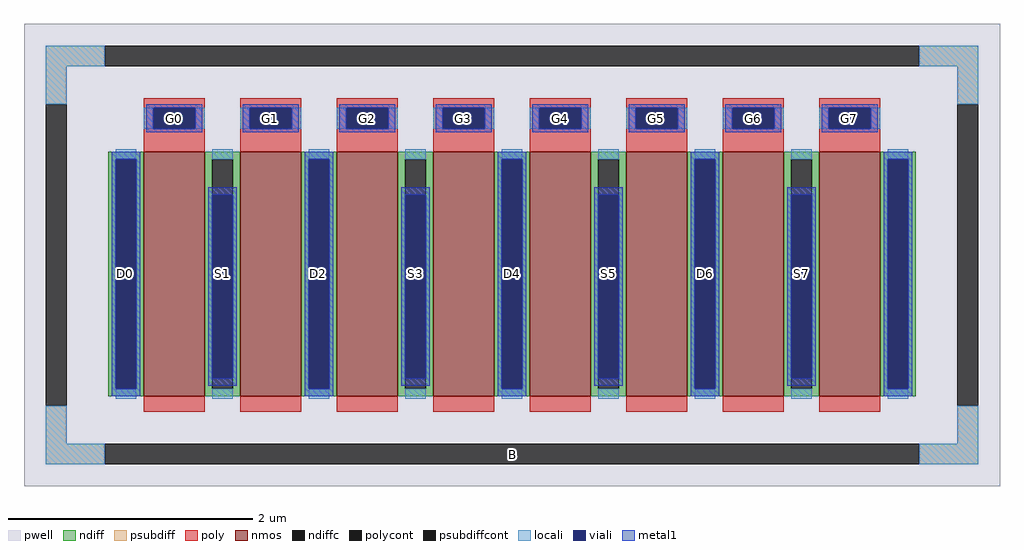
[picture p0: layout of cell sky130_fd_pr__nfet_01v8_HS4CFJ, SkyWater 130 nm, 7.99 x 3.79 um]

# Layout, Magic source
magic
tech sky130A
magscale 1 2
<< pwell >>
rect -799 -379 799 379
<< nmos >>
rect -603 -231 -503 169
rect -445 -231 -345 169
rect -287 -231 -187 169
rect -129 -231 -29 169
rect 29 -231 129 169
rect 187 -231 287 169
rect 345 -231 445 169
rect 503 -231 603 169
<< ndiff >>
rect -661 157 -603 169
rect -661 -219 -649 157
rect -615 -219 -603 157
rect -661 -231 -603 -219
rect -503 157 -445 169
rect -503 -219 -491 157
rect -457 -219 -445 157
rect -503 -231 -445 -219
rect -345 157 -287 169
rect -345 -219 -333 157
rect -299 -219 -287 157
rect -345 -231 -287 -219
rect -187 157 -129 169
rect -187 -219 -175 157
rect -141 -219 -129 157
rect -187 -231 -129 -219
rect -29 157 29 169
rect -29 -219 -17 157
rect 17 -219 29 157
rect -29 -231 29 -219
rect 129 157 187 169
rect 129 -219 141 157
rect 175 -219 187 157
rect 129 -231 187 -219
rect 287 157 345 169
rect 287 -219 299 157
rect 333 -219 345 157
rect 287 -231 345 -219
rect 445 157 503 169
rect 445 -219 457 157
rect 491 -219 503 157
rect 445 -231 503 -219
rect 603 157 661 169
rect 603 -219 615 157
rect 649 -219 661 157
rect 603 -231 661 -219
<< ndiffc >>
rect -649 -219 -615 157
rect -491 -219 -457 157
rect -333 -219 -299 157
rect -175 -219 -141 157
rect -17 -219 17 157
rect 141 -219 175 157
rect 299 -219 333 157
rect 457 -219 491 157
rect 615 -219 649 157
<< psubdiff >>
rect -763 309 -667 343
rect 667 309 763 343
rect -763 247 -729 309
rect 729 247 763 309
rect -763 -309 -729 -247
rect 729 -309 763 -247
rect -763 -343 -667 -309
rect 667 -343 763 -309
<< psubdiffcont >>
rect -667 309 667 343
rect -763 -247 -729 247
rect 729 -247 763 247
rect -667 -343 667 -309
<< poly >>
rect -603 241 -503 257
rect -603 207 -587 241
rect -519 207 -503 241
rect -603 169 -503 207
rect -445 241 -345 257
rect -445 207 -429 241
rect -361 207 -345 241
rect -445 169 -345 207
rect -287 241 -187 257
rect -287 207 -271 241
rect -203 207 -187 241
rect -287 169 -187 207
rect -129 241 -29 257
rect -129 207 -113 241
rect -45 207 -29 241
rect -129 169 -29 207
rect 29 241 129 257
rect 29 207 45 241
rect 113 207 129 241
rect 29 169 129 207
rect 187 241 287 257
rect 187 207 203 241
rect 271 207 287 241
rect 187 169 287 207
rect 345 241 445 257
rect 345 207 361 241
rect 429 207 445 241
rect 345 169 445 207
rect 503 241 603 257
rect 503 207 519 241
rect 587 207 603 241
rect 503 169 603 207
rect -603 -257 -503 -231
rect -445 -257 -345 -231
rect -287 -257 -187 -231
rect -129 -257 -29 -231
rect 29 -257 129 -231
rect 187 -257 287 -231
rect 345 -257 445 -231
rect 503 -257 603 -231
<< polycont >>
rect -587 207 -519 241
rect -429 207 -361 241
rect -271 207 -203 241
rect -113 207 -45 241
rect 45 207 113 241
rect 203 207 271 241
rect 361 207 429 241
rect 519 207 587 241
<< locali >>
rect -763 309 -667 343
rect 667 309 763 343
rect -763 247 -729 309
rect 729 247 763 309
rect -603 207 -587 241
rect -519 207 -503 241
rect -445 207 -429 241
rect -361 207 -345 241
rect -287 207 -271 241
rect -203 207 -187 241
rect -129 207 -113 241
rect -45 207 -29 241
rect 29 207 45 241
rect 113 207 129 241
rect 187 207 203 241
rect 271 207 287 241
rect 345 207 361 241
rect 429 207 445 241
rect 503 207 519 241
rect 587 207 603 241
rect -649 157 -615 173
rect -649 -235 -615 -219
rect -491 157 -457 173
rect -491 -235 -457 -219
rect -333 157 -299 173
rect -333 -235 -299 -219
rect -175 157 -141 173
rect -175 -235 -141 -219
rect -17 157 17 173
rect -17 -235 17 -219
rect 141 157 175 173
rect 141 -235 175 -219
rect 299 157 333 173
rect 299 -235 333 -219
rect 457 157 491 173
rect 457 -235 491 -219
rect 615 157 649 173
rect 615 -235 649 -219
rect -763 -309 -729 -247
rect 729 -309 763 -247
rect -763 -343 -667 -309
rect 667 -343 763 -309
<< viali >>
rect -587 207 -519 241
rect -429 207 -361 241
rect -271 207 -203 241
rect -113 207 -45 241
rect 45 207 113 241
rect 203 207 271 241
rect 361 207 429 241
rect 519 207 587 241
rect -649 -219 -615 157
rect -491 -202 -457 99
rect -333 -219 -299 157
rect -175 -202 -141 99
rect -17 -219 17 157
rect 141 -202 175 99
rect 299 -219 333 157
rect 457 -202 491 99
rect 615 -219 649 157
<< metal1 >>
rect -599 241 -507 247
rect -599 207 -587 241
rect -519 207 -507 241
rect -599 201 -507 207
rect -441 241 -349 247
rect -441 207 -429 241
rect -361 207 -349 241
rect -441 201 -349 207
rect -283 241 -191 247
rect -283 207 -271 241
rect -203 207 -191 241
rect -283 201 -191 207
rect -125 241 -33 247
rect -125 207 -113 241
rect -45 207 -33 241
rect -125 201 -33 207
rect 33 241 125 247
rect 33 207 45 241
rect 113 207 125 241
rect 33 201 125 207
rect 191 241 283 247
rect 191 207 203 241
rect 271 207 283 241
rect 191 201 283 207
rect 349 241 441 247
rect 349 207 361 241
rect 429 207 441 241
rect 349 201 441 207
rect 507 241 599 247
rect 507 207 519 241
rect 587 207 599 241
rect 507 201 599 207
rect -655 157 -609 169
rect -655 -219 -649 157
rect -615 -219 -609 157
rect -339 157 -293 169
rect -497 99 -451 111
rect -497 -202 -491 99
rect -457 -202 -451 99
rect -497 -214 -451 -202
rect -655 -231 -609 -219
rect -339 -219 -333 157
rect -299 -219 -293 157
rect -23 157 23 169
rect -181 99 -135 111
rect -181 -202 -175 99
rect -141 -202 -135 99
rect -181 -214 -135 -202
rect -339 -231 -293 -219
rect -23 -219 -17 157
rect 17 -219 23 157
rect 293 157 339 169
rect 135 99 181 111
rect 135 -202 141 99
rect 175 -202 181 99
rect 135 -214 181 -202
rect -23 -231 23 -219
rect 293 -219 299 157
rect 333 -219 339 157
rect 609 157 655 169
rect 451 99 497 111
rect 451 -202 457 99
rect 491 -202 497 99
rect 451 -214 497 -202
rect 293 -231 339 -219
rect 609 -219 615 157
rect 649 -219 655 157
rect 609 -231 655 -219
<< labels >>
rlabel psubdiffcont 0 -326 0 -326 0 B
port 1 nsew
rlabel ndiffc -632 -31 -632 -31 0 D0
port 2 nsew
rlabel polycont -553 224 -553 224 0 G0
port 3 nsew
rlabel ndiffc -474 -31 -474 -31 0 S1
port 4 nsew
rlabel polycont -395 224 -395 224 0 G1
port 5 nsew
rlabel ndiffc -316 -31 -316 -31 0 D2
port 6 nsew
rlabel polycont -237 224 -237 224 0 G2
port 7 nsew
rlabel ndiffc -158 -31 -158 -31 0 S3
port 8 nsew
rlabel polycont -79 224 -79 224 0 G3
port 9 nsew
rlabel ndiffc 0 -31 0 -31 0 D4
port 10 nsew
rlabel polycont 79 224 79 224 0 G4
port 11 nsew
rlabel ndiffc 158 -31 158 -31 0 S5
port 12 nsew
rlabel polycont 237 224 237 224 0 G5
port 13 nsew
rlabel ndiffc 316 -31 316 -31 0 D6
port 14 nsew
rlabel polycont 395 224 395 224 0 G6
port 15 nsew
rlabel ndiffc 474 -31 474 -31 0 S7
port 16 nsew
rlabel polycont 553 224 553 224 0 G7
port 17 nsew
<< properties >>
string FIXED_BBOX -746 -326 746 326
string gencell sky130_fd_pr__nfet_01v8
string library sky130
string parameters w 2.0 l 0.5 m 1 nf 8 diffcov 100 polycov 100 guard 1 glc 1 grc 1 gtc 1 gbc 1 tbcov 100 rlcov 100 topc 1 botc 0 poverlap 0 doverlap 1 lmin 0.15 wmin 0.42 class mosfet compatible {sky130_fd_pr__nfet_01v8 sky130_fd_pr__nfet_01v8_lvt  sky130_fd_bs_flash__special_sonosfet_star  sky130_fd_pr__nfet_g5v0d10v5 sky130_fd_pr__nfet_05v0_nvt  sky130_fd_pr__nfet_03v3_nvt} full_metal 1 conn_gates 0 viasrc +80 viadrn 100 viagate 100 viagb 0 viagr 0 viagl 0 viagt 0 doports 1
<< end >>
